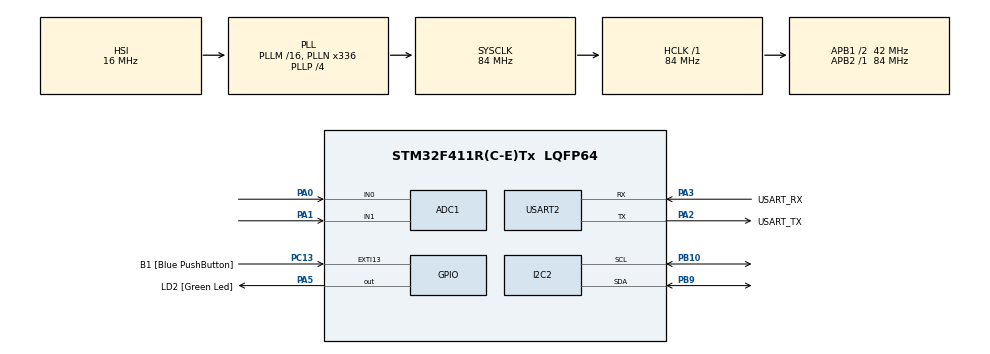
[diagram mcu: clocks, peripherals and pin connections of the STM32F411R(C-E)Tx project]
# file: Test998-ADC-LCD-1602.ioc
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ADC1.Channel-0\#ChannelRegularConversion=ADC_CHANNEL_1
ADC1.Channel-1\#ChannelRegularConversion=ADC_CHANNEL_0
ADC1.DiscontinuousConvMode=ENABLE
ADC1.NbrOfConversion=2
ADC1.NbrOfConversionFlag=1
ADC1.Rank-0\#ChannelRegularConversion=1
ADC1.Rank-1\#ChannelRegularConversion=2
ADC1.SamplingTime-0\#ChannelRegularConversion=ADC_SAMPLETIME_3CYCLES
ADC1.SamplingTime-1\#ChannelRegularConversion=ADC_SAMPLETIME_3CYCLES
ADC1.ScanConvMode=ENABLE
ADC1.master=1
Mcu.Family=STM32F4
Mcu.Name=STM32F411R(C-E)Tx
Mcu.Package=LQFP64
NVIC.ADC_IRQn=true\:0\:0\:false\:false\:true\:true\:true\:true
NVIC.PriorityGroup=NVIC_PRIORITYGROUP_0
NVIC.TIM3_IRQn=true\:0\:0\:false\:false\:true\:true\:true\:true
PA0-WKUP.Signal=ADCx_IN0
PA1.Signal=ADCx_IN1
PA13.GPIO_Label=TMS
PA13.Mode=Serial_Wire
PA13.Signal=SYS_JTMS-SWDIO
PA14.GPIO_Label=TCK
PA14.Mode=Serial_Wire
PA14.Signal=SYS_JTCK-SWCLK
PA2.GPIO_Label=USART_TX
PA2.Mode=Asynchronous
PA2.Signal=USART2_TX
PA3.GPIO_Label=USART_RX
PA3.Mode=Asynchronous
PA3.Signal=USART2_RX
PA5.GPIO_Label=LD2 [Green Led]
PA5.Signal=GPIO_Output
PB10.Mode=I2C
PB10.Signal=I2C2_SCL
PB3.GPIO_Label=SWO
PB3.Signal=SYS_JTDO-SWO
PB9.Mode=I2C
PB9.Signal=I2C2_SDA
PC13-ANTI_TAMP.GPIO_Label=B1 [Blue PushButton]
PC13-ANTI_TAMP.GPIO_ModeDefaultEXTI=GPIO_MODE_IT_FALLING
PC13-ANTI_TAMP.Signal=GPXTI13
PC14-OSC32_IN.Mode=LSE-External-Oscillator
PC14-OSC32_IN.Signal=RCC_OSC32_IN
PC15-OSC32_OUT.Mode=LSE-External-Oscillator
PC15-OSC32_OUT.Signal=RCC_OSC32_OUT
PH0\ -\ OSC_IN.Mode=HSE-External-Clock-Source
PH0\ -\ OSC_IN.Signal=RCC_OSC_IN
PH1\ -\ OSC_OUT.Mode=HSE-External-Clock-Source
PH1\ -\ OSC_OUT.Signal=RCC_OSC_OUT
ProjectManager.HeapSize=0x200
ProjectManager.StackSize=0x400
ProjectManager.TargetToolchain=STM32CubeIDE
RCC.48MHZClocksFreq_Value=84000000
RCC.AHBFreq_Value=84000000
RCC.APB1CLKDivider=RCC_HCLK_DIV2
RCC.APB1Freq_Value=42000000
RCC.APB1TimFreq_Value=84000000
RCC.APB2Freq_Value=84000000
RCC.APB2TimFreq_Value=84000000
RCC.CortexFreq_Value=84000000
RCC.FLatency-AdvancedSettings=FLASH_LATENCY_2
RCC.HCLKFreq_Value=84000000
RCC.HSE_VALUE=8000000
RCC.HSI_VALUE=16000000
RCC.PLLN=336
RCC.PLLP=RCC_PLLP_DIV4
RCC.SYSCLKFreq_VALUE=84000000
RCC.SYSCLKSource=RCC_SYSCLKSOURCE_PLLCLK
RCC.VCOOutputFreq_Value=336000000
SH.ADCx_IN0.0=ADC1_IN0,IN0
SH.ADCx_IN1.0=ADC1_IN1,IN1
TIM3.Period=8399
TIM3.Prescaler=999
USART2.VirtualMode=VM_ASYNC
VP_TIM3_VS_ClockSourceINT.Mode=Internal
board=NUCLEO-F411RE

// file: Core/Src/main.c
/* USER CODE BEGIN Header */
/**
  ******************************************************************************
  * @file           : main.c
  * @brief          : Main program body
  ******************************************************************************
  * @attention
  *
  * Copyright (c) 2024 STMicroelectronics.
  * All rights reserved.
  *
  * This software is licensed under terms that can be found in the LICENSE file
  * in the root directory of this software component.
  * If no LICENSE file comes with this software, it is provided AS-IS.
  *
  ******************************************************************************
  */
/* USER CODE END Header */
#include "main.h"

ADC_HandleTypeDef hadc1;

I2C_HandleTypeDef hi2c2;

TIM_HandleTypeDef htim3;

UART_HandleTypeDef huart2;

void SystemClock_Config(void);
static void MX_GPIO_Init(void);
static void MX_USART2_UART_Init(void);
static void MX_ADC1_Init(void);
static void MX_I2C2_Init(void);
static void MX_TIM3_Init(void);

/* USER CODE BEGIN 0 */
int ch = 0, val1, val2;
void HAL_TIM_PeriodElapsedCallback(TIM_HandleTypeDef *htim) {
	  HAL_ADC_Start_IT(&hadc1);
}
void HAL_ADC_ConvCpltCallback(ADC_HandleTypeDef *hadc) {
	if(ch) {
		val1 = HAL_ADC_GetValue(&hadc1);
		ch--;
	} else {
		val2 = HAL_ADC_GetValue(&hadc1);
		ch++;
	}
}

/* USER CODE END 0 */

int main(void)
{

  /* MCU Configuration--------------------------------------------------------*/

  /* Reset of all peripherals, Initializes the Flash interface and the Systick. */
  HAL_Init();

  /* Configure the system clock */
  SystemClock_Config();

  /* Initialize all configured peripherals */
  MX_GPIO_Init();
  MX_USART2_UART_Init();
  MX_ADC1_Init();
  MX_I2C2_Init();
  MX_TIM3_Init();
  /* USER CODE BEGIN 2 */
  ProgramStart("Test998");
  i2c_init(&hi2c2);
  i2c_scan();
  lcd_init();
  HAL_TIM_Base_Start_IT(&htim3);

  /* USER CODE END 2 */

  /* Infinite loop */
  while (1)
  {

    /* USER CODE BEGIN 3 */
	  lcd_print_joystick(val2, 0);
	  HAL_Delay(50);
	  lcd_print_joystick(val1, 1);
	  HAL_Delay(50);
  }
  /* USER CODE END 3 */
}

void SystemClock_Config(void)
{
  RCC_OscInitTypeDef RCC_OscInitStruct = {0};
  RCC_ClkInitTypeDef RCC_ClkInitStruct = {0};

  /** Configure the main internal regulator output voltage
  */
  __HAL_RCC_PWR_CLK_ENABLE();
  __HAL_PWR_VOLTAGESCALING_CONFIG(PWR_REGULATOR_VOLTAGE_SCALE1);

  /** Initializes the RCC Oscillators according to the specified parameters
  * in the RCC_OscInitTypeDef structure.
  */
  RCC_OscInitStruct.OscillatorType = RCC_OSCILLATORTYPE_HSI;
  RCC_OscInitStruct.HSIState = RCC_HSI_ON;
  RCC_OscInitStruct.HSICalibrationValue = RCC_HSICALIBRATION_DEFAULT;
  RCC_OscInitStruct.PLL.PLLState = RCC_PLL_ON;
  RCC_OscInitStruct.PLL.PLLSource = RCC_PLLSOURCE_HSI;
  RCC_OscInitStruct.PLL.PLLM = 16;
  RCC_OscInitStruct.PLL.PLLN = 336;
  RCC_OscInitStruct.PLL.PLLP = RCC_PLLP_DIV4;
  RCC_OscInitStruct.PLL.PLLQ = 4;
  if (HAL_RCC_OscConfig(&RCC_OscInitStruct) != HAL_OK)
  {
    Error_Handler();
  }

  /** Initializes the CPU, AHB and APB buses clocks
  */
  RCC_ClkInitStruct.ClockType = RCC_CLOCKTYPE_HCLK|RCC_CLOCKTYPE_SYSCLK
                              |RCC_CLOCKTYPE_PCLK1|RCC_CLOCKTYPE_PCLK2;
  RCC_ClkInitStruct.SYSCLKSource = RCC_SYSCLKSOURCE_PLLCLK;
  RCC_ClkInitStruct.AHBCLKDivider = RCC_SYSCLK_DIV1;
  RCC_ClkInitStruct.APB1CLKDivider = RCC_HCLK_DIV2;
  RCC_ClkInitStruct.APB2CLKDivider = RCC_HCLK_DIV1;

  if (HAL_RCC_ClockConfig(&RCC_ClkInitStruct, FLASH_LATENCY_2) != HAL_OK)
  {
    Error_Handler();
  }
}

static void MX_ADC1_Init(void)
{

  ADC_ChannelConfTypeDef sConfig = {0};

  /** Configure the global features of the ADC (Clock, Resolution, Data Alignment and number of conversion)
  */
  hadc1.Instance = ADC1;
  hadc1.Init.ClockPrescaler = ADC_CLOCK_SYNC_PCLK_DIV4;
  hadc1.Init.Resolution = ADC_RESOLUTION_12B;
  hadc1.Init.ScanConvMode = ENABLE;
  hadc1.Init.ContinuousConvMode = DISABLE;
  hadc1.Init.DiscontinuousConvMode = ENABLE;
  hadc1.Init.NbrOfDiscConversion = 1;
  hadc1.Init.ExternalTrigConvEdge = ADC_EXTERNALTRIGCONVEDGE_NONE;
  hadc1.Init.ExternalTrigConv = ADC_SOFTWARE_START;
  hadc1.Init.DataAlign = ADC_DATAALIGN_RIGHT;
  hadc1.Init.NbrOfConversion = 2;
  hadc1.Init.DMAContinuousRequests = DISABLE;
  hadc1.Init.EOCSelection = ADC_EOC_SINGLE_CONV;
  if (HAL_ADC_Init(&hadc1) != HAL_OK)
  {
    Error_Handler();
  }

  /** Configure for the selected ADC regular channel its corresponding rank in the sequencer and its sample time.
  */
  sConfig.Channel = ADC_CHANNEL_1;
  sConfig.Rank = 1;
  sConfig.SamplingTime = ADC_SAMPLETIME_3CYCLES;
  if (HAL_ADC_ConfigChannel(&hadc1, &sConfig) != HAL_OK)
  {
    Error_Handler();
  }

  /** Configure for the selected ADC regular channel its corresponding rank in the sequencer and its sample time.
  */
  sConfig.Channel = ADC_CHANNEL_0;
  sConfig.Rank = 2;
  if (HAL_ADC_ConfigChannel(&hadc1, &sConfig) != HAL_OK)
  {
    Error_Handler();
  }

}

static void MX_I2C2_Init(void)
{

  hi2c2.Instance = I2C2;
  hi2c2.Init.ClockSpeed = 100000;
  hi2c2.Init.DutyCycle = I2C_DUTYCYCLE_2;
  hi2c2.Init.OwnAddress1 = 0;
  hi2c2.Init.AddressingMode = I2C_ADDRESSINGMODE_7BIT;
  hi2c2.Init.DualAddressMode = I2C_DUALADDRESS_DISABLE;
  hi2c2.Init.OwnAddress2 = 0;
  hi2c2.Init.GeneralCallMode = I2C_GENERALCALL_DISABLE;
  hi2c2.Init.NoStretchMode = I2C_NOSTRETCH_DISABLE;
  if (HAL_I2C_Init(&hi2c2) != HAL_OK)
  {
    Error_Handler();
  }

}

static void MX_TIM3_Init(void)
{

  TIM_ClockConfigTypeDef sClockSourceConfig = {0};
  TIM_MasterConfigTypeDef sMasterConfig = {0};

  htim3.Instance = TIM3;
  htim3.Init.Prescaler = 999;
  htim3.Init.CounterMode = TIM_COUNTERMODE_UP;
  htim3.Init.Period = 8399;
  htim3.Init.ClockDivision = TIM_CLOCKDIVISION_DIV1;
  htim3.Init.AutoReloadPreload = TIM_AUTORELOAD_PRELOAD_DISABLE;
  if (HAL_TIM_Base_Init(&htim3) != HAL_OK)
  {
    Error_Handler();
  }
  sClockSourceConfig.ClockSource = TIM_CLOCKSOURCE_INTERNAL;
  if (HAL_TIM_ConfigClockSource(&htim3, &sClockSourceConfig) != HAL_OK)
  {
    Error_Handler();
  }
  sMasterConfig.MasterOutputTrigger = TIM_TRGO_RESET;
  sMasterConfig.MasterSlaveMode = TIM_MASTERSLAVEMODE_DISABLE;
  if (HAL_TIMEx_MasterConfigSynchronization(&htim3, &sMasterConfig) != HAL_OK)
  {
    Error_Handler();
  }

}

static void MX_USART2_UART_Init(void)
{

  huart2.Instance = USART2;
  huart2.Init.BaudRate = 115200;
  huart2.Init.WordLength = UART_WORDLENGTH_8B;
  huart2.Init.StopBits = UART_STOPBITS_1;
  huart2.Init.Parity = UART_PARITY_NONE;
  huart2.Init.Mode = UART_MODE_TX_RX;
  huart2.Init.HwFlowCtl = UART_HWCONTROL_NONE;
  huart2.Init.OverSampling = UART_OVERSAMPLING_16;
  if (HAL_UART_Init(&huart2) != HAL_OK)
  {
    Error_Handler();
  }

}

static void MX_GPIO_Init(void)
{
  GPIO_InitTypeDef GPIO_InitStruct = {0};

  /* GPIO Ports Clock Enable */
  __HAL_RCC_GPIOC_CLK_ENABLE();
  __HAL_RCC_GPIOH_CLK_ENABLE();
  __HAL_RCC_GPIOA_CLK_ENABLE();
  __HAL_RCC_GPIOB_CLK_ENABLE();

  /*Configure GPIO pin Output Level */
  HAL_GPIO_WritePin(LD2_GPIO_Port, LD2_Pin, GPIO_PIN_RESET);

  /*Configure GPIO pin : B1_Pin */
  GPIO_InitStruct.Pin = B1_Pin;
  GPIO_InitStruct.Mode = GPIO_MODE_IT_FALLING;
  GPIO_InitStruct.Pull = GPIO_NOPULL;
  HAL_GPIO_Init(B1_GPIO_Port, &GPIO_InitStruct);

  /*Configure GPIO pin : LD2_Pin */
  GPIO_InitStruct.Pin = LD2_Pin;
  GPIO_InitStruct.Mode = GPIO_MODE_OUTPUT_PP;
  GPIO_InitStruct.Pull = GPIO_NOPULL;
  GPIO_InitStruct.Speed = GPIO_SPEED_FREQ_LOW;
  HAL_GPIO_Init(LD2_GPIO_Port, &GPIO_InitStruct);

}

void Error_Handler(void)
{
  __disable_irq();
  while (1)
  {
  }
}
